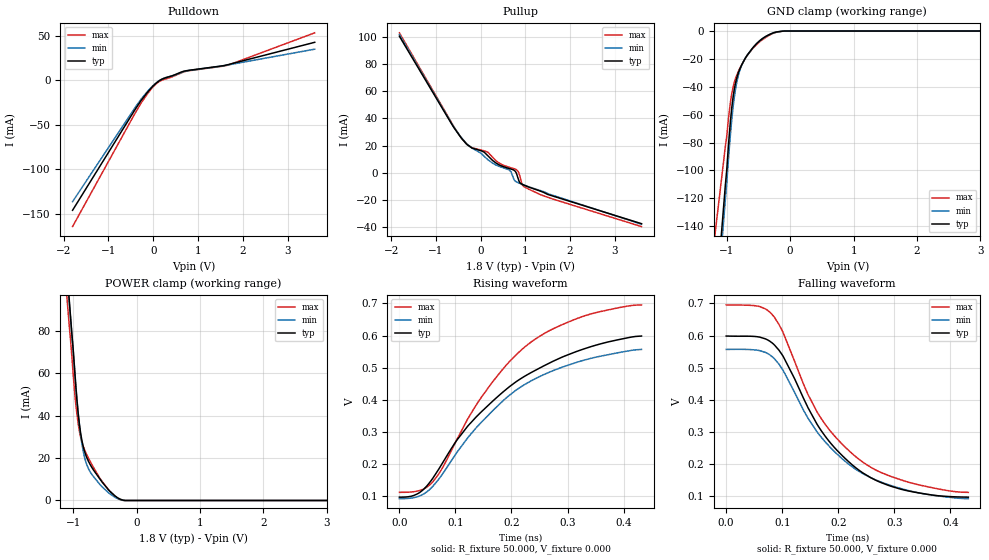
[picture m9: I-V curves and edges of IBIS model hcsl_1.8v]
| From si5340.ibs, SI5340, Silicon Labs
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[Model]   hcsl_1.8v
Model_type 3-state
Vref=0.000E+00
Rref=5.000E+01
Cref=0.000E+00
Vmeas=3.500E-01
C_comp   1.210E-12   1.190E-12   1.240E-12
[Voltage Range]   1.800E+00   1.710E+00   1.890E+00
[POWER Clamp Reference]   1.800E+00   1.710E+00   1.890E+00
[GND Clamp Reference]   0.000E+00   0.000E+00   0.000E+00
[Pullup Reference]   1.800E+00   1.710E+00   1.890E+00
[Pulldown Reference]   0.000E+00   0.000E+00   0.000E+00
[Temperature Range]   25   85   -40
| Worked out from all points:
|   slope of the pulldown table from 0 to 0.27 V, typ, clamps not added: 30 ohm
|   slope of the pullup table from 0 to 0.27 V, typ, clamps not added: 37.1 ohm
|   GND clamp passes 1 mA (typ) near -0.24 V on its own axis
|   POWER clamp passes 1 mA (typ) near -0.28 V on its own axis
|   rising waveform, R_fixture 50.000, V_fixture 0.000: 20-80 % time 175ps typ, 157ps min, 145ps max; typ from 0.098 V to 0.599 V
|   falling waveform, R_fixture 50.000, V_fixture 0.000: 20-80 % time 113ps typ, 120ps min, 119ps max; typ from 0.599 V to 0.098 V
[GND Clamp]
-1.8V     -548.1mA   -567.1mA   -383.1mA
-1.02V    -109.4mA   -119.5mA   -81.99mA
-1V       -99.56mA   -108.9mA   -75.55mA
-960mV    -74.23mA   -84.17mA   -57.5mA
-920mV    -54.67mA   -63.12mA   -44.72mA
-880mV    -41.53mA   -47.25mA   -36.7mA
-820mV    -30.34mA   -32.35mA   -29.27mA
-760mV    -23.92mA   -24.15mA   -23.79mA
-680mV    -17.55mA   -17.44mA   -17.66mA
-380mV    -3.753mA   -3.83mA    -4.443mA
-80mV     0A         0A         0A
3.6V      0A         0A         0A
[Power Clamp]
-1.8V     379.8mA    368.7mA    351.6mA
-1.06V    94.11mA    93.07mA    82.09mA
-980mV    63.01mA    63.71mA    52.36mA
-940mV    47.25mA    47.94mA    40.68mA
-880mV    31.42mA    30.45mA    29.64mA
-820mV    23.15mA    20.41mA    23.97mA
-760mV    18.58mA    15.13mA    20.09mA
-680mV    14.4mA     11.3mA     15.66mA
-540mV    8.57mA     6.358mA    8.867mA
-340mV    2.182mA    1.517mA    1.935mA
-180mV    9.213uA    502.4nA    0A
3.6V      0A         0A         0A
[Pullup]
-1.82V    100.5mA    101.6mA    103mA
-620mV    34.29mA    34.62mA    35.07mA
-300mV    20.65mA    20.99mA    20.59mA
160mV     12.51mA    9.62mA     15.13mA
400mV     6.027mA    4.873mA    7.467mA
640mV     3.101mA    2.116mA    4.024mA
800mV     -385.6uA   -6.663mA   2.234mA
860mV     -6.322mA   -7.589mA   -642.8uA
940mV     -8.642mA   -8.684mA   -9.425mA
1.08V     -10.58mA   -10.35mA   -12.16mA
1.6V      -16.97mA   -16.44mA   -19.19mA
3.6V      -37.47mA   -37.88mA   -39.61mA
[Pulldown]
-1.8V     -146.2mA   -136.6mA   -164.6mA
-380mV    -30.97mA   -28.88mA   -34.97mA
-260mV    -22.06mA   -20.56mA   -24.84mA
-120mV    -13.04mA   -12.09mA   -14.63mA
0V        -6.321mA   -5.801mA   -7.262mA
100mV     -1.851mA   -1.575mA   -2.693mA
240mV     2.143mA    2.316mA    861.1uA
680mV     10.11mA    9.647mA    9.247mA
1.7V      17.96mA    17.48mA    17.49mA
3.6V      42.63mA    34.9mA     53.29mA
[Rising Waveform]
R_fixture = 50.000
V_fixture = 0.000
V_fixture_min = 0.000
V_fixture_max = 0.000
|  time   V(typ)   V(min)   V(max)
0s        97.56mV    92.81mV    112.5mV
34ps      109.6mV    99.92mV    117.3mV
60ps      157.2mV    131.8mV    146mV
78ps      206.7mV    172.2mV    192.3mV
102ps     273.5mV    235.2mV    274.8mV
146ps     362.5mV    330.1mV    407.6mV
192ps     434.9mV    408.2mV    510.6mV
230ps     480.1mV    454.3mV    573.3mV
326ps     556.6mV    521.8mV    658.7mV
432ps     598.6mV    556.9mV    695.3mV
[Falling Waveform]
R_fixture = 50.000
V_fixture = 0.000
V_fixture_min = 0.000
V_fixture_max = 0.000
|  time   V(typ)   V(min)   V(max)
0s        598.6mV    556.9mV    695.3mV
58ps      595.8mV    553.8mV    690.9mV
82ps      577.1mV    534.5mV    665.6mV
102ps     534.3mV    490.5mV    607.6mV
138ps     404.9mV    367.9mV    448.7mV
164ps     319.1mV    296.3mV    357.3mV
196ps     246.5mV    234.5mV    282.6mV
238ps     180mV      176.7mV    213.9mV
318ps     119.6mV    121.3mV    147.9mV
432ps     97.56mV    92.81mV    112.5mV
[Ramp]
dV/dt_r   3.5945E-01/1.7461E-10   3.3458E-01/1.5730E-10   4.1529E-01/1.4503E-10
dV/dt_f   3.5945E-01/1.1190E-10   3.3458E-01/1.1960E-10   4.1529E-01/1.1830E-10
R_load = 50
